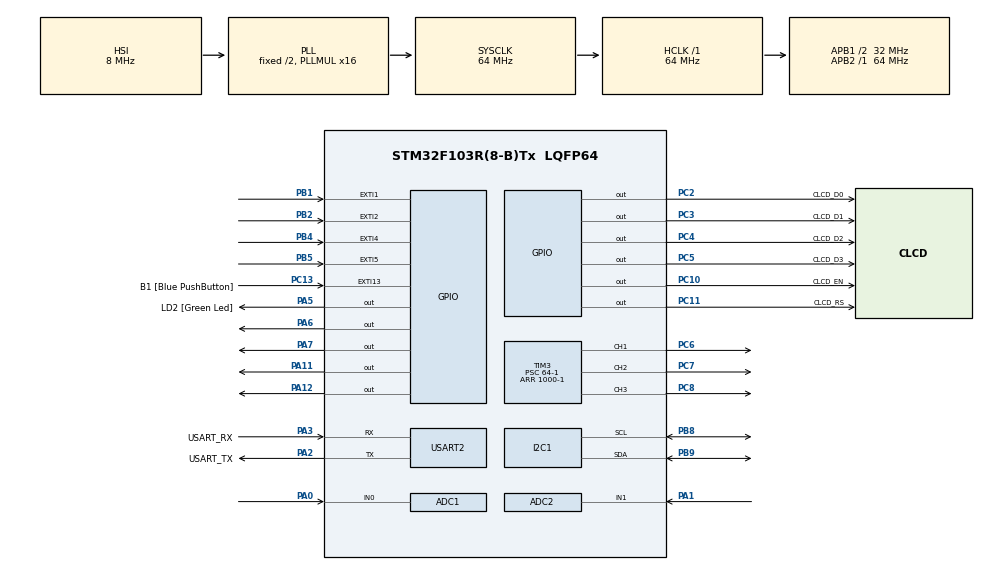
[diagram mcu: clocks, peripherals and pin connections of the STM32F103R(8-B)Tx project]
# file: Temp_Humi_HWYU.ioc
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ADC1.Channel-0\#ChannelRegularConversion=ADC_CHANNEL_0
ADC1.ContinuousConvMode=ENABLE
ADC1.NbrOfConversion=1
ADC1.NbrOfConversionFlag=1
ADC1.Rank-0\#ChannelRegularConversion=1
ADC1.SamplingTime-0\#ChannelRegularConversion=ADC_SAMPLETIME_13CYCLES_5
ADC1.master=1
ADC2.Channel-0\#ChannelRegularConversion=ADC_CHANNEL_1
ADC2.ContinuousConvMode=ENABLE
ADC2.NbrOfConversionFlag=1
ADC2.Rank-0\#ChannelRegularConversion=1
ADC2.SamplingTime-0\#ChannelRegularConversion=ADC_SAMPLETIME_13CYCLES_5
I2C1.I2C_Mode=I2C_Fast
Mcu.Family=STM32F1
Mcu.Name=STM32F103R(8-B)Tx
Mcu.Package=LQFP64
NVIC.EXTI15_10_IRQn=true\:0\:0\:false\:false\:true\:true\:true
NVIC.EXTI1_IRQn=true\:0\:0\:false\:false\:true\:true\:true
NVIC.EXTI2_IRQn=true\:0\:0\:false\:false\:true\:true\:true
NVIC.EXTI4_IRQn=true\:0\:0\:false\:false\:true\:true\:true
NVIC.EXTI9_5_IRQn=true\:0\:0\:false\:false\:true\:true\:true
NVIC.PriorityGroup=NVIC_PRIORITYGROUP_4
NVIC.TIM2_IRQn=true\:0\:0\:false\:false\:true\:true\:true
PA0-WKUP.Signal=ADCx_IN0
PA1.Signal=ADCx_IN1
PA11.Signal=GPIO_Output
PA12.Signal=GPIO_Output
PA13.GPIO_Label=TMS
PA13.Mode=Serial_Wire
PA13.Signal=SYS_JTMS-SWDIO
PA14.GPIO_Label=TCK
PA14.Mode=Serial_Wire
PA14.Signal=SYS_JTCK-SWCLK
PA2.GPIO_Label=USART_TX
PA2.GPIO_Mode=GPIO_MODE_AF_PP
PA2.GPIO_PuPd=GPIO_NOPULL
PA2.GPIO_Speed=GPIO_SPEED_FREQ_LOW
PA2.Mode=Asynchronous
PA2.Signal=USART2_TX
PA3.GPIO_Label=USART_RX
PA3.GPIO_Mode=GPIO_MODE_AF_PP
PA3.GPIO_PuPd=GPIO_NOPULL
PA3.GPIO_Speed=GPIO_SPEED_FREQ_LOW
PA3.Mode=Asynchronous
PA3.Signal=USART2_RX
PA5.GPIO_Label=LD2 [Green Led]
PA5.GPIO_ModeDefaultOutputPP=GPIO_MODE_OUTPUT_PP
PA5.GPIO_PuPd=GPIO_NOPULL
PA5.GPIO_Speed=GPIO_SPEED_FREQ_LOW
PA5.Signal=GPIO_Output
PA6.Signal=GPIO_Output
PA7.Signal=GPIO_Output
PB1.GPIO_ModeDefaultEXTI=GPIO_MODE_IT_FALLING
PB1.Signal=GPXTI1
PB2.GPIO_ModeDefaultEXTI=GPIO_MODE_IT_FALLING
PB2.Signal=GPXTI2
PB3.GPIO_Label=SWO
PB3.Signal=SYS_JTDO-TRACESWO
PB4.GPIO_ModeDefaultEXTI=GPIO_MODE_IT_FALLING
PB4.Signal=GPXTI4
PB5.GPIO_ModeDefaultEXTI=GPIO_MODE_IT_FALLING
PB5.Signal=GPXTI5
PB8.Mode=I2C
PB8.Signal=I2C1_SCL
PB9.Mode=I2C
PB9.Signal=I2C1_SDA
PC10.GPIO_Label=CLCD_EN
PC10.Signal=GPIO_Output
PC11.GPIO_Label=CLCD_RS
PC11.Signal=GPIO_Output
PC13-TAMPER-RTC.GPIO_Label=B1 [Blue PushButton]
PC13-TAMPER-RTC.GPIO_PuPd=GPIO_NOPULL
PC13-TAMPER-RTC.Signal=GPXTI13
PC14-OSC32_IN.Signal=RCC_OSC32_IN
PC15-OSC32_OUT.Signal=RCC_OSC32_OUT
PC2.GPIO_Label=CLCD_D0
PC2.Signal=GPIO_Output
PC3.GPIO_Label=CLCD_D1
PC3.Signal=GPIO_Output
PC4.GPIO_Label=CLCD_D2
PC4.Signal=GPIO_Output
PC5.GPIO_Label=CLCD_D3
PC5.Signal=GPIO_Output
PC6.Signal=S_TIM3_CH1
PC7.Signal=S_TIM3_CH2
PC8.Signal=S_TIM3_CH3
PD0-OSC_IN.Signal=RCC_OSC_IN
PD1-OSC_OUT.Signal=RCC_OSC_OUT
ProjectManager.HeapSize=0x200
ProjectManager.StackSize=0x400
ProjectManager.TargetToolchain=STM32CubeIDE
RCC.ADCPresc=RCC_ADCPCLK2_DIV8
RCC.AHBFreq_Value=64000000
RCC.APB1CLKDivider=RCC_HCLK_DIV2
RCC.APB1Freq_Value=32000000
RCC.APB1TimFreq_Value=64000000
RCC.APB2Freq_Value=64000000
RCC.APB2TimFreq_Value=64000000
RCC.HCLKFreq_Value=64000000
RCC.PLLMUL=RCC_PLL_MUL16
RCC.RTCClockSelection=RCC_RTCCLKSOURCE_LSE
RCC.SYSCLKFreq_VALUE=64000000
RCC.SYSCLKSource=RCC_SYSCLKSOURCE_PLLCLK
RCC.USBFreq_Value=64000000
SH.ADCx_IN0.0=ADC1_IN0,IN0
SH.ADCx_IN1.0=ADC2_IN1,IN1
SH.S_TIM3_CH1.0=TIM3_CH1,PWM Generation1 CH1
SH.S_TIM3_CH2.0=TIM3_CH2,PWM Generation2 CH2
SH.S_TIM3_CH3.0=TIM3_CH3,PWM Generation3 CH3
TIM2.AutoReloadPreload=TIM_AUTORELOAD_PRELOAD_ENABLE
TIM2.Period=5000-1
TIM2.Prescaler=64-1
TIM3.Channel-PWM\ Generation1\ CH1=TIM_CHANNEL_1
TIM3.Channel-PWM\ Generation2\ CH2=TIM_CHANNEL_2
TIM3.Channel-PWM\ Generation3\ CH3=TIM_CHANNEL_3
TIM3.Period=1000-1
TIM3.Prescaler=64-1
USART2.VirtualMode=VM_ASYNC
VP_TIM2_VS_ClockSourceINT.Mode=Internal
board=NUCLEO-F103RB

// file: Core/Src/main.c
/* USER CODE BEGIN Header */
/**
  ******************************************************************************
  * @file           : main.c
  * @brief          : Main program body
  ******************************************************************************
  * @attention
  *
  * <h2><center>&copy; Copyright (c) 2021 STMicroelectronics.
  * All rights reserved.</center></h2>
  *
  * This software component is licensed by ST under BSD 3-Clause license,
  * the "License"; You may not use this file except in compliance with the
  * License. You may obtain a copy of the License at:
  *                        opensource.org/licenses/BSD-3-Clause
  *
  ******************************************************************************
  */
/* USER CODE END Header */
#include "main.h"

/* USER CODE BEGIN Includes */
#include "clcd\clcd.h"
#include "hdc1080\hdc1080.h"
#include "LED_Pattern.h"
#include "Mode_Swtich.h"
#include "RGB_LED.h"
#include "CLCD_Print.h"
#include "ADC_Control.h"
#include <stdio.h>

/* USER CODE END Includes */

ADC_HandleTypeDef hadc1;
ADC_HandleTypeDef hadc2;

I2C_HandleTypeDef hi2c1;

TIM_HandleTypeDef htim2;
TIM_HandleTypeDef htim3;

UART_HandleTypeDef huart2;

/* USER CODE BEGIN PV */
float data_temp, data_humi;
uint16_t data_vol, data_cds;
uint8_t led_pattern=1;
uint8_t sequence_number, RB_sequence;
uint8_t sequence_flag, clcd_flag, sense_flag, RB_flag;
uint8_t adc_vol_flag, adc_cds_flag;
uint16_t timer_counter = 0;

/* USER CODE END PV */

void SystemClock_Config(void);
static void MX_GPIO_Init(void);
static void MX_USART2_UART_Init(void);
static void MX_I2C1_Init(void);
static void MX_TIM3_Init(void);
static void MX_TIM2_Init(void);
static void MX_ADC1_Init(void);
static void MX_ADC2_Init(void);

/* USER CODE BEGIN 0 */

/*
 * UART Configuration
 */
#ifdef __GNUC__
#define	PUTCHAR_PROTOTYPE int __io_putchar(int ch)
#else
#define	PUTCHAR_PROTOTYPE int fputc(int ch, FILE *f)
#endif

PUTCHAR_PROTOTYPE
{
	if(ch == '\n')
	{
		HAL_UART_Transmit(&huart2, (uint8_t*) "\r", 1, 0xFFFF);
	}
		HAL_UART_Transmit(&huart2, (uint8_t*) &ch, 1, 0xFFFF);

		return ch;
}
/* USER CODE END 0 */

int main(void)
{

  /* MCU Configuration--------------------------------------------------------*/

  /* Reset of all peripherals, Initializes the Flash interface and the Systick. */
  HAL_Init();

  /* Configure the system clock */
  SystemClock_Config();

  /* Initialize all configured peripherals */
  MX_GPIO_Init();
  MX_USART2_UART_Init();
  MX_I2C1_Init();
  MX_TIM3_Init();
  MX_TIM2_Init();
  MX_ADC1_Init();
  MX_ADC2_Init();
  /* USER CODE BEGIN 2 */

  /*
   * PWM Start for RGB LED
   */
  HAL_TIM_PWM_Start(&htim3, TIM_CHANNEL_1);
  HAL_TIM_PWM_Start(&htim3, TIM_CHANNEL_2);
  HAL_TIM_PWM_Start(&htim3, TIM_CHANNEL_3);
  HAL_TIM_Base_Start_IT(&htim2);

  //PWM Init - PWM out count => 0
  RGB_Display_Init();

  //ADC Init - Start and Error Check!!
  ADC_Control_Init();

  //CLCD_Init&First Display

  CLCD_Init_1602();		//CLCD Block Character Initialize
  CLCD_Print_First();
  HAL_Delay(2000);
  CLCD_Clear();

  /* USER CODE END 2 */

  /* Infinite loop */
  /* USER CODE BEGIN WHILE */
  	  //LED_Pattern_Init_One();	//First Display Function - Not use

  /*
   * I2C Humidity&Temperature Init - printf is using uart
   * If you not use UART, make the comment to if codes
   */
	  uint8_t bat_stat=0;
	  //LED_Patterns(1);
	  hdc1080_init(&hi2c1, HDC1080_T_RES_14, HDC1080_RH_RES_14, 1, &bat_stat);
	  if(bat_stat)
	  {
		  printf("supply voltage VCC < 2.8V\n");
	  }
	  else
	  {
		  printf("supply voltage VCC > 2.8V\n");
	  }
  while (1)
  {

	/*
	 * All Application Functions
	 * Use manual
	 *
	 * 1. Humi&Temp - comment ADC_Volume&ADC_Cds&CLCD_Print--
	 * 2. ADC Volume&Cds - comment hdc1080&CLCD_Print_Humi_Temp&RGB_Temp_Humi
	 */

	LED_Patterns(led_pattern, &sequence_number, &sequence_flag);
	hdc1080_measure(&hi2c1, &data_temp, &data_humi, &sense_flag);
	//printf("TEMP=%2f HUMI=%3f\n", data_temp, data_humi);
	//CLCD_Print_Humi_Temp(data_humi, data_temp, &clcd_flag);
	//RGB_Temp_Humi(&RB_sequence, data_temp, data_humi, &RB_flag);
	//HAL_GPIO_TogglePin(LD2_GPIO_Port, LD2_Pin);

	ADC_Volume_Control(&adc_vol_flag,&data_vol);
	ADC_Cds_Control(&adc_cds_flag,&data_cds);
	CLCD_Print_Vol_Cds(data_vol, data_cds, &clcd_flag);

    /* USER CODE END WHILE */

  }
}

void SystemClock_Config(void)
{
  RCC_OscInitTypeDef RCC_OscInitStruct = {0};
  RCC_ClkInitTypeDef RCC_ClkInitStruct = {0};
  RCC_PeriphCLKInitTypeDef PeriphClkInit = {0};

  /** Initializes the RCC Oscillators according to the specified parameters
  * in the RCC_OscInitTypeDef structure.
  */
  RCC_OscInitStruct.OscillatorType = RCC_OSCILLATORTYPE_HSI;
  RCC_OscInitStruct.HSIState = RCC_HSI_ON;
  RCC_OscInitStruct.HSICalibrationValue = RCC_HSICALIBRATION_DEFAULT;
  RCC_OscInitStruct.PLL.PLLState = RCC_PLL_ON;
  RCC_OscInitStruct.PLL.PLLSource = RCC_PLLSOURCE_HSI_DIV2;
  RCC_OscInitStruct.PLL.PLLMUL = RCC_PLL_MUL16;
  if (HAL_RCC_OscConfig(&RCC_OscInitStruct) != HAL_OK)
  {
    Error_Handler();
  }
  /** Initializes the CPU, AHB and APB buses clocks
  */
  RCC_ClkInitStruct.ClockType = RCC_CLOCKTYPE_HCLK|RCC_CLOCKTYPE_SYSCLK
                              |RCC_CLOCKTYPE_PCLK1|RCC_CLOCKTYPE_PCLK2;
  RCC_ClkInitStruct.SYSCLKSource = RCC_SYSCLKSOURCE_PLLCLK;
  RCC_ClkInitStruct.AHBCLKDivider = RCC_SYSCLK_DIV1;
  RCC_ClkInitStruct.APB1CLKDivider = RCC_HCLK_DIV2;
  RCC_ClkInitStruct.APB2CLKDivider = RCC_HCLK_DIV1;

  if (HAL_RCC_ClockConfig(&RCC_ClkInitStruct, FLASH_LATENCY_2) != HAL_OK)
  {
    Error_Handler();
  }
  PeriphClkInit.PeriphClockSelection = RCC_PERIPHCLK_ADC;
  PeriphClkInit.AdcClockSelection = RCC_ADCPCLK2_DIV8;
  if (HAL_RCCEx_PeriphCLKConfig(&PeriphClkInit) != HAL_OK)
  {
    Error_Handler();
  }
}

static void MX_ADC1_Init(void)
{

  ADC_ChannelConfTypeDef sConfig = {0};

  /** Common config
  */
  hadc1.Instance = ADC1;
  hadc1.Init.ScanConvMode = ADC_SCAN_DISABLE;
  hadc1.Init.ContinuousConvMode = ENABLE;
  hadc1.Init.DiscontinuousConvMode = DISABLE;
  hadc1.Init.ExternalTrigConv = ADC_SOFTWARE_START;
  hadc1.Init.DataAlign = ADC_DATAALIGN_RIGHT;
  hadc1.Init.NbrOfConversion = 1;
  if (HAL_ADC_Init(&hadc1) != HAL_OK)
  {
    Error_Handler();
  }
  /** Configure Regular Channel
  */
  sConfig.Channel = ADC_CHANNEL_0;
  sConfig.Rank = ADC_REGULAR_RANK_1;
  sConfig.SamplingTime = ADC_SAMPLETIME_13CYCLES_5;
  if (HAL_ADC_ConfigChannel(&hadc1, &sConfig) != HAL_OK)
  {
    Error_Handler();
  }

}

static void MX_ADC2_Init(void)
{

  ADC_ChannelConfTypeDef sConfig = {0};

  /** Common config
  */
  hadc2.Instance = ADC2;
  hadc2.Init.ScanConvMode = ADC_SCAN_DISABLE;
  hadc2.Init.ContinuousConvMode = ENABLE;
  hadc2.Init.DiscontinuousConvMode = DISABLE;
  hadc2.Init.ExternalTrigConv = ADC_SOFTWARE_START;
  hadc2.Init.DataAlign = ADC_DATAALIGN_RIGHT;
  hadc2.Init.NbrOfConversion = 1;
  if (HAL_ADC_Init(&hadc2) != HAL_OK)
  {
    Error_Handler();
  }
  /** Configure Regular Channel
  */
  sConfig.Channel = ADC_CHANNEL_1;
  sConfig.Rank = ADC_REGULAR_RANK_1;
  sConfig.SamplingTime = ADC_SAMPLETIME_13CYCLES_5;
  if (HAL_ADC_ConfigChannel(&hadc2, &sConfig) != HAL_OK)
  {
    Error_Handler();
  }

}

static void MX_I2C1_Init(void)
{

  hi2c1.Instance = I2C1;
  hi2c1.Init.ClockSpeed = 400000;
  hi2c1.Init.DutyCycle = I2C_DUTYCYCLE_2;
  hi2c1.Init.OwnAddress1 = 0;
  hi2c1.Init.AddressingMode = I2C_ADDRESSINGMODE_7BIT;
  hi2c1.Init.DualAddressMode = I2C_DUALADDRESS_DISABLE;
  hi2c1.Init.OwnAddress2 = 0;
  hi2c1.Init.GeneralCallMode = I2C_GENERALCALL_DISABLE;
  hi2c1.Init.NoStretchMode = I2C_NOSTRETCH_DISABLE;
  if (HAL_I2C_Init(&hi2c1) != HAL_OK)
  {
    Error_Handler();
  }

}

static void MX_TIM2_Init(void)
{

  TIM_ClockConfigTypeDef sClockSourceConfig = {0};
  TIM_MasterConfigTypeDef sMasterConfig = {0};

  htim2.Instance = TIM2;
  htim2.Init.Prescaler = 64-1;
  htim2.Init.CounterMode = TIM_COUNTERMODE_UP;
  htim2.Init.Period = 5000-1;
  htim2.Init.ClockDivision = TIM_CLOCKDIVISION_DIV1;
  htim2.Init.AutoReloadPreload = TIM_AUTORELOAD_PRELOAD_ENABLE;
  if (HAL_TIM_Base_Init(&htim2) != HAL_OK)
  {
    Error_Handler();
  }
  sClockSourceConfig.ClockSource = TIM_CLOCKSOURCE_INTERNAL;
  if (HAL_TIM_ConfigClockSource(&htim2, &sClockSourceConfig) != HAL_OK)
  {
    Error_Handler();
  }
  sMasterConfig.MasterOutputTrigger = TIM_TRGO_RESET;
  sMasterConfig.MasterSlaveMode = TIM_MASTERSLAVEMODE_DISABLE;
  if (HAL_TIMEx_MasterConfigSynchronization(&htim2, &sMasterConfig) != HAL_OK)
  {
    Error_Handler();
  }

}

static void MX_TIM3_Init(void)
{

  TIM_MasterConfigTypeDef sMasterConfig = {0};
  TIM_OC_InitTypeDef sConfigOC = {0};

  htim3.Instance = TIM3;
  htim3.Init.Prescaler = 64-1;
  htim3.Init.CounterMode = TIM_COUNTERMODE_UP;
  htim3.Init.Period = 1000-1;
  htim3.Init.ClockDivision = TIM_CLOCKDIVISION_DIV1;
  htim3.Init.AutoReloadPreload = TIM_AUTORELOAD_PRELOAD_DISABLE;
  if (HAL_TIM_PWM_Init(&htim3) != HAL_OK)
  {
    Error_Handler();
  }
  sMasterConfig.MasterOutputTrigger = TIM_TRGO_RESET;
  sMasterConfig.MasterSlaveMode = TIM_MASTERSLAVEMODE_DISABLE;
  if (HAL_TIMEx_MasterConfigSynchronization(&htim3, &sMasterConfig) != HAL_OK)
  {
    Error_Handler();
  }
  sConfigOC.OCMode = TIM_OCMODE_PWM1;
  sConfigOC.Pulse = 0;
  sConfigOC.OCPolarity = TIM_OCPOLARITY_HIGH;
  sConfigOC.OCFastMode = TIM_OCFAST_DISABLE;
  if (HAL_TIM_PWM_ConfigChannel(&htim3, &sConfigOC, TIM_CHANNEL_1) != HAL_OK)
  {
    Error_Handler();
  }
  if (HAL_TIM_PWM_ConfigChannel(&htim3, &sConfigOC, TIM_CHANNEL_2) != HAL_OK)
  {
    Error_Handler();
  }
  if (HAL_TIM_PWM_ConfigChannel(&htim3, &sConfigOC, TIM_CHANNEL_3) != HAL_OK)
  {
    Error_Handler();
  }
  HAL_TIM_MspPostInit(&htim3);

}

static void MX_USART2_UART_Init(void)
{

  huart2.Instance = USART2;
  huart2.Init.BaudRate = 115200;
  huart2.Init.WordLength = UART_WORDLENGTH_8B;
  huart2.Init.StopBits = UART_STOPBITS_1;
  huart2.Init.Parity = UART_PARITY_NONE;
  huart2.Init.Mode = UART_MODE_TX_RX;
  huart2.Init.HwFlowCtl = UART_HWCONTROL_NONE;
  huart2.Init.OverSampling = UART_OVERSAMPLING_16;
  if (HAL_UART_Init(&huart2) != HAL_OK)
  {
    Error_Handler();
  }

}

static void MX_GPIO_Init(void)
{
  GPIO_InitTypeDef GPIO_InitStruct = {0};

  /* GPIO Ports Clock Enable */
  __HAL_RCC_GPIOC_CLK_ENABLE();
  __HAL_RCC_GPIOD_CLK_ENABLE();
  __HAL_RCC_GPIOA_CLK_ENABLE();
  __HAL_RCC_GPIOB_CLK_ENABLE();

  /*Configure GPIO pin Output Level */
  HAL_GPIO_WritePin(GPIOC, CLCD_D0_Pin|CLCD_D1_Pin|CLCD_D2_Pin|CLCD_D3_Pin
                          |CLCD_EN_Pin|CLCD_RS_Pin, GPIO_PIN_RESET);

  /*Configure GPIO pin Output Level */
  HAL_GPIO_WritePin(GPIOA, LD2_Pin|GPIO_PIN_6|GPIO_PIN_7|GPIO_PIN_11
                          |GPIO_PIN_12, GPIO_PIN_RESET);

  /*Configure GPIO pin : B1_Pin */
  GPIO_InitStruct.Pin = B1_Pin;
  GPIO_InitStruct.Mode = GPIO_MODE_IT_RISING;
  GPIO_InitStruct.Pull = GPIO_NOPULL;
  HAL_GPIO_Init(B1_GPIO_Port, &GPIO_InitStruct);

  /*Configure GPIO pins : CLCD_D0_Pin CLCD_D1_Pin CLCD_D2_Pin CLCD_D3_Pin
                           CLCD_EN_Pin CLCD_RS_Pin */
  GPIO_InitStruct.Pin = CLCD_D0_Pin|CLCD_D1_Pin|CLCD_D2_Pin|CLCD_D3_Pin
                          |CLCD_EN_Pin|CLCD_RS_Pin;
  GPIO_InitStruct.Mode = GPIO_MODE_OUTPUT_PP;
  GPIO_InitStruct.Pull = GPIO_NOPULL;
  GPIO_InitStruct.Speed = GPIO_SPEED_FREQ_LOW;
  HAL_GPIO_Init(GPIOC, &GPIO_InitStruct);

  /*Configure GPIO pins : LD2_Pin PA6 PA7 PA11
                           PA12 */
  GPIO_InitStruct.Pin = LD2_Pin|GPIO_PIN_6|GPIO_PIN_7|GPIO_PIN_11
                          |GPIO_PIN_12;
  GPIO_InitStruct.Mode = GPIO_MODE_OUTPUT_PP;
  GPIO_InitStruct.Pull = GPIO_NOPULL;
  GPIO_InitStruct.Speed = GPIO_SPEED_FREQ_LOW;
  HAL_GPIO_Init(GPIOA, &GPIO_InitStruct);

  /*Configure GPIO pins : PB1 PB2 PB4 PB5 */
  GPIO_InitStruct.Pin = GPIO_PIN_1|GPIO_PIN_2|GPIO_PIN_4|GPIO_PIN_5;
  GPIO_InitStruct.Mode = GPIO_MODE_IT_FALLING;
  GPIO_InitStruct.Pull = GPIO_NOPULL;
  HAL_GPIO_Init(GPIOB, &GPIO_InitStruct);

  /* EXTI interrupt init*/
  HAL_NVIC_SetPriority(EXTI1_IRQn, 0, 0);
  HAL_NVIC_EnableIRQ(EXTI1_IRQn);

  HAL_NVIC_SetPriority(EXTI2_IRQn, 0, 0);
  HAL_NVIC_EnableIRQ(EXTI2_IRQn);

  HAL_NVIC_SetPriority(EXTI4_IRQn, 0, 0);
  HAL_NVIC_EnableIRQ(EXTI4_IRQn);

  HAL_NVIC_SetPriority(EXTI9_5_IRQn, 0, 0);
  HAL_NVIC_EnableIRQ(EXTI9_5_IRQn);

  HAL_NVIC_SetPriority(EXTI15_10_IRQn, 0, 0);
  HAL_NVIC_EnableIRQ(EXTI15_10_IRQn);

}

/* USER CODE BEGIN 4 */
void HAL_TIM_PeriodElapsedCallback(TIM_HandleTypeDef *htim)
{
	/*
	 * timer_counter is interrupted every 5milli second
	 *
	 */

	timer_counter += 5;
	/*
	 * flag sequence
	 *
	 */
	if((timer_counter%300)==0)
	{
		adc_vol_flag = 1;
		adc_cds_flag = 1;
	}
	if((timer_counter%500)==0)
	{
		sequence_flag = 1;
	}
	if(timer_counter == 1000)
	{
		clcd_flag = 1;
		sense_flag = 1;
		RB_flag = 1;
		// when timer_counter is be 1000ms(1sec), timer_counter is be 0.
		timer_counter = 0;
	}
}
/* USER CODE END 4 */

void Error_Handler(void)
{
  __disable_irq();
  while (1)
  {
  }
}

/************************ (C) COPYRIGHT STMicroelectronics *****END OF FILE****/
